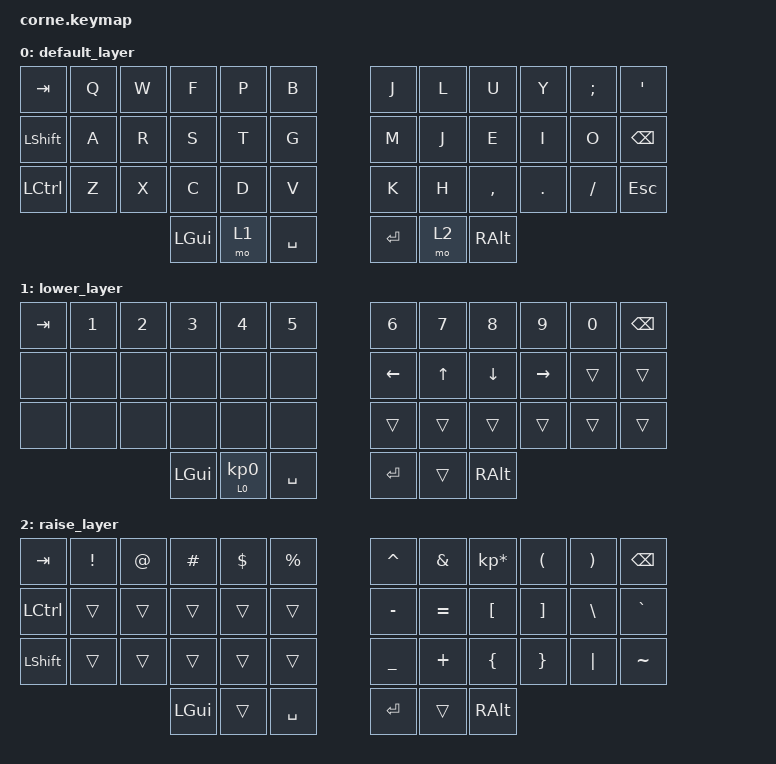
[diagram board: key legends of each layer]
/*
 * Copyright (c) 2020 The ZMK Contributors
 *
 * SPDX-License-Identifier: MIT
 */

#include <behaviors.dtsi>
#include <dt-bindings/zmk/keys.h>

/ {
    keymap {
        compatible = "zmk,keymap";

        default_layer {
            // -----------------------------------------------------------------------------------------
            // |  TAB |  Q  |  W  |  E  |  R  |  T  |   |  Y  |  U   |  I  |  O  |  P  | BKSP |
            // | CTRL |  A  |  S  |  D  |  F  |  G  |   |  H  |  J   |  K  |  L  |  ;  |  '   |
            // | SHFT |  Z  |  X  |  C  |  V  |  B  |   |  N  |  M   |  ,  |  .  |  /  | ESC  |
            //                    | GUI | LWR | SPC |   | ENT | RSE  | ALT |

            bindings = <
&kp TAB         &kp Q  &kp W  &kp F     &kp P  &kp B        &kp J    &kp L  &kp U      &kp Y    &kp SEMICOLON  &kp SQT
&kp LEFT_SHIFT  &kp A  &kp R  &kp S     &kp T  &kp G        &kp M    &kp J  &kp E      &kp I    &kp O          &kp BSPC
&kp LCTRL       &kp Z  &kp X  &kp C     &kp D  &kp V        &kp K    &kp H  &kp COMMA  &kp DOT  &kp FSLH       &kp ESC
                              &kp LGUI  &mo 1  &kp SPACE    &kp RET  &mo 2  &kp RALT
            >;
        };

        lower_layer {
            // -----------------------------------------------------------------------------------------
            // |  TAB |  1  |  2  |  3  |  4  |  5  |   |  6  |  7  |  8  |  9  |  0  | BKSP |
            // | BTCLR| BT1 | BT2 | BT3 | BT4 | BT5 |   | LFT | DWN |  UP | RGT |     |      |
            // | SHFT |     |     |     |     |     |   |     |     |     |     |     |      |
            //                    | GUI |     | SPC |   | ENT |     | ALT |

            bindings = <
&kp TAB  &kp N1  &kp N2  &kp N3    &kp N4             &kp N5       &kp N6    &kp N7        &kp N8    &kp N9     &kp N0  &kp BSPC
&none    &none   &none   &none     &none              &none        &kp LEFT  &kp UP_ARROW  &kp DOWN  &kp RIGHT  &trans  &trans
&none    &none   &none   &none     &none              &none        &trans    &trans        &trans    &trans     &trans  &trans
                         &kp LGUI  &lt 0 KP_NUMBER_0  &kp SPACE    &kp RET   &trans        &kp RALT
            >;
        };

        raise_layer {
            // -----------------------------------------------------------------------------------------
            // |  TAB |  !  |  @  |  #  |  $  |  %  |   |  ^  |  &  |  *  |  (  |  )  | BKSP |
            // | CTRL |     |     |     |     |     |   |  -  |  =  |  [  |  ]  |  \  |  `   |
            // | SHFT |     |     |     |     |     |   |  _  |  +  |  {  |  }  | "|" |  ~   |
            //                    | GUI |     | SPC |   | ENT |     | ALT |

            bindings = <
&kp TAB    &kp EXCL  &kp AT  &kp HASH  &kp DLLR  &kp PRCNT    &kp CARET  &kp AMPS   &kp KP_MULTIPLY  &kp LPAR  &kp RPAR  &kp BSPC
&kp LCTRL  &trans    &trans  &trans    &trans    &trans       &kp MINUS  &kp EQUAL  &kp LBKT         &kp RBKT  &kp BSLH  &kp GRAVE
&kp LSHFT  &trans    &trans  &trans    &trans    &trans       &kp UNDER  &kp PLUS   &kp LBRC         &kp RBRC  &kp PIPE  &kp TILDE
                             &kp LGUI  &trans    &kp SPACE    &kp RET    &trans     &kp RALT
            >;
        };
    };
};
